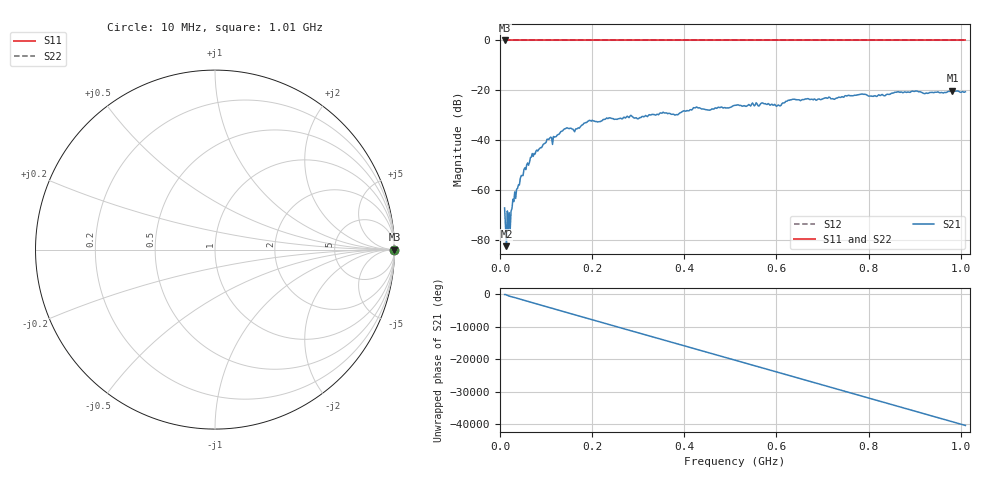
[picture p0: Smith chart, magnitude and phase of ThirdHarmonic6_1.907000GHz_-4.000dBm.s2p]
! 8/16/2025 11:00:25 PM
! C:\ANRITSUVNA\TEMP\TEMP.S2P
! CHANNEL.1
! TR.MEASUREMENT
! RAW.DATA
! RF.CORRECTION.OFF
! AVERAGING.OFF
! IF.BANDWIDTH: 5KHZ
! SWEEPTYPE:  FREQ.SWEEP(Linear)
! Reference Plane Port Info
! PORT:  PORT1  PORT2
! DISTANCE:  0  m  0  m
! TIME:  0  s  0  s
! PHASE.OFFSET:  0  deg.  0  deg.
! LOSS:  0  dB  0  dB
! REF.LOSS:  0  dB  0  dB
! REF.FREQ:  0  Hz  0  Hz
! Power Info
! POWER:  -20  dBm  -20  dBm
! EFF.POWER:  -20  dBm  -20  dBm
! SOURCE.ATTEN:  0  dB  0  dB
! TEST.ATTEN:  0  dB  0  dB
# GHZ S RI R 50.0
! FREQ.GHZ  S11RE  S11IM  S21RE  S21IM  S12RE  S12IM  S22RE  S22IM
!; PortSelection: Port_12
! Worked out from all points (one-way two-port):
!   501 points, 10 MHz to 1.01 GHz, reference 50 ohm
!   highest |S21| = -20.11 dB at 982 MHz (marker M1); lowest = -82.6 dB at 14 MHz (marker M2)
!   lowest |S11| = 0.0 dB at 10 MHz (marker M3)
!   |S11| at or under -10 dB: nowhere
!   |S22| runs from 0.0 to 0.0 dB; largest |S21 - S12| = 1.1
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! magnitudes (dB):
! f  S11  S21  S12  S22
! 10 MHz  0.0  -67.2  0.0  0.0
! 14 MHz  0.0  -82.6  0.0  0.0
! 18 MHz  0.0  -76.3  0.0  0.0
! 26 MHz  0.0  -67.5  0.0  0.0
! 28 MHz  0.0  -63.7  0.0  0.0
! 48 MHz  0.0  -54.3  0.0  0.0
! 70 MHz  0.0  -45.4  0.0  0.0
! 106 MHz  0.0  -39.7  0.0  0.0
! 118 MHz  0.0  -38.8  0.0  0.0
! 142 MHz  0.0  -35.4  0.0  0.0
! 164 MHz  0.0  -35.6  0.0  0.0
! 178 MHz  0.0  -34.0  0.0  0.0
! 196 MHz  0.0  -32.2  0.0  0.0
! 344 MHz  0.0  -29.8  0.0  0.0
! 382 MHz  0.0  -29.8  0.0  0.0
! 510 MHz  0.0  -26.0  0.0  0.0
! 604 MHz  0.0  -25.9  0.0  0.0
! 634 MHz  0.0  -23.7  0.0  0.0
! 678 MHz  0.0  -23.7  0.0  0.0
! 844 MHz  0.0  -21.7  0.0  0.0
! 982 MHz  0.0  -20.1  0.0  0.0
! 1.01 GHz  0.0  -20.6  0.0  0.0
